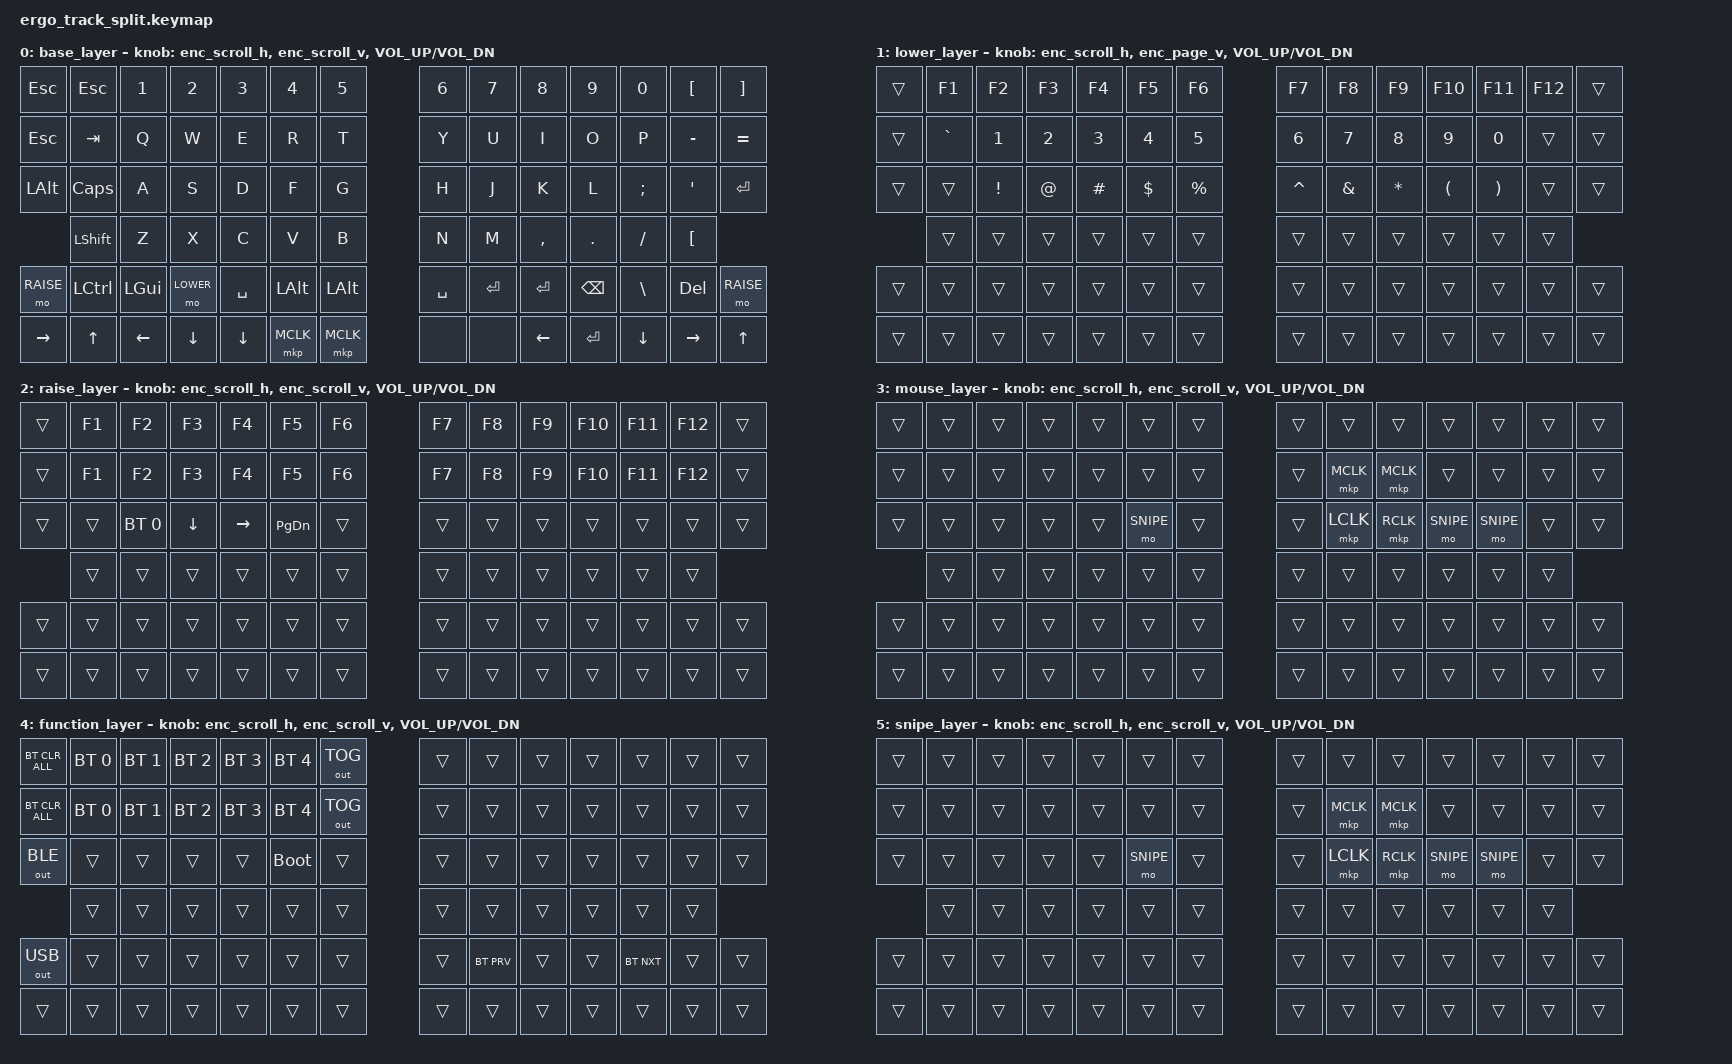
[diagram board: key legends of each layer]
/*
 * SPDX-License-Identifier: MIT
 */

#include <behaviors.dtsi>
#include <dt-bindings/zmk/keys.h>
#include <dt-bindings/zmk/bt.h>
#include <dt-bindings/zmk/outputs.h>
#define ZMK_POINTING_DEFAULT_SCRL_VAL 140
#include <dt-bindings/zmk/mouse.h>
#include <dt-bindings/zmk/pointing.h>

#define BASE  0
#define LOWER 1
#define RAISE 2
#define MOUSE 3
#define FUNC  4
#define SNIPE 5

/ {
    behaviors {
        enc_scroll_v: enc_scroll_v {
            compatible = "zmk,behavior-sensor-rotate";
            label = "ENC_SCROLL_V";
            #sensor-binding-cells = <0>;
            bindings = <&msc SCRL_DOWN>, <&msc SCRL_UP>;
            tap-ms = <20>;
        };

        enc_scroll_h: enc_scroll_h {
            compatible = "zmk,behavior-sensor-rotate";
            label = "ENC_SCROLL_H";
            #sensor-binding-cells = <0>;
            bindings = <&msc SCRL_LEFT>, <&msc SCRL_RIGHT>;
            tap-ms = <20>;
        };

        enc_page_v: enc_page_v {
        compatible = "zmk,behavior-sensor-rotate";
        label = "ENC_PAGE_V";
        #sensor-binding-cells = <0>;
        bindings = <&kp PAGE_DOWN>, <&kp PAGE_UP>;
        tap-ms = <20>;
        };
    };

    conditional_layers {
        compatible = "zmk,conditional-layers";
        func_layer {
            if-layers = <LOWER RAISE>;
            then-layer = <FUNC>;
        };
    };

    keymap {
        compatible = "zmk,keymap";

        base_layer {
            bindings = <
            &kp ESC &kp ESC &kp N1 &kp N2 &kp N3 &kp N4 &kp N5        &kp N6 &kp N7 &kp N8 &kp N9 &kp N0 &kp LBKT &kp RBKT
            &kp ESC &kp TAB &kp Q &kp W &kp E &kp R &kp T              &kp Y &kp U &kp I &kp O &kp P &kp MINUS &kp EQUAL
            &kp LALT &kp CAPS &kp A &kp S &kp D &kp F &kp G            &kp H &kp J &kp K &kp L &kp SEMI &kp APOS &kp RET
                     &kp LSHFT &kp Z &kp X &kp C &kp V &kp B           &kp N &kp M &kp COMMA &kp DOT &kp FSLH &kp LBKT
            &mo RAISE &kp LCTRL &kp LGUI &mo LOWER &kp SPACE &kp LALT &kp LALT    &kp SPACE &kp RET &kp RET &kp BACKSPACE &kp BSLH &kp DEL &mo RAISE
            &kp RIGHT &kp UP &kp LEFT &kp DOWN &kp DOWN &mkp MCLK &mkp MCLK  &none &none &kp LEFT &kp RET &kp DOWN &kp RIGHT &kp UP
            >;
            sensor-bindings = <&enc_scroll_h &enc_scroll_v &inc_dec_kp C_VOL_UP C_VOL_DN>;
        };

        lower_layer {
            bindings = <
            &trans &kp F1 &kp F2 &kp F3 &kp F4 &kp F5 &kp F6      &kp F7 &kp F8 &kp F9 &kp F10 &kp F11 &kp F12 &trans
            &trans &kp GRAVE &kp N1 &kp N2 &kp N3 &kp N4 &kp N5   &kp N6 &kp N7 &kp N8 &kp N9 &kp N0 &trans &trans
            &trans &trans &kp EXCL &kp AT &kp HASH &kp DLLR &kp PRCNT   &kp CARET &kp AMPS &kp STAR &kp LPAR &kp RPAR &trans &trans
                   &trans &trans &trans &trans &trans &trans        &trans &trans &trans &trans &trans &trans
            &trans &trans &trans &trans &trans &trans &trans        &trans &trans &trans &trans &trans &trans &trans
            &trans &trans &trans &trans &trans &trans &trans        &trans &trans &trans &trans &trans &trans &trans
            >;
            sensor-bindings = <&enc_scroll_h &enc_page_v &inc_dec_kp C_VOL_UP C_VOL_DN>;
        };

        raise_layer {
            bindings = <
            &trans &kp F1 &kp F2 &kp F3 &kp F4 &kp F5 &kp F6        &kp F7 &kp F8 &kp F9 &kp F10 &kp F11 &kp F12 &trans
            &trans &kp F1 &kp F2 &kp F3 &kp F4 &kp F5 &kp F6        &kp F7 &kp F8 &kp F9 &kp F10 &kp F11 &kp F12 &trans
            &trans &trans &bt BT_SEL 0 &kp DOWN &kp RIGHT &kp PG_DN &trans  &trans &trans &trans &trans &trans &trans &trans
                   &trans &trans &trans &trans &trans &trans        &trans &trans &trans &trans &trans &trans
            &trans &trans &trans &trans &trans &trans &trans        &trans &trans &trans &trans &trans &trans &trans
            &trans &trans &trans &trans &trans &trans &trans        &trans &trans &trans &trans &trans &trans &trans
            >;
            sensor-bindings = <&enc_scroll_h &enc_scroll_v &inc_dec_kp C_VOL_UP C_VOL_DN>;
        };

        mouse_layer {
            bindings = <
            &trans &trans &trans &trans &trans &trans &trans        &trans &trans &trans &trans &trans &trans &trans
            &trans &trans &trans &trans &trans &trans &trans        &trans &mkp MCLK &mkp MCLK &trans &trans &trans &trans
            &trans &trans &trans &trans &trans &mo SNIPE &trans     &trans &mkp LCLK &mkp RCLK &mo SNIPE &mo SNIPE &trans &trans
                   &trans &trans &trans &trans &trans &trans        &trans &trans &trans &trans &trans &trans
            &trans &trans &trans &trans &trans &trans &trans        &trans &trans &trans &trans &trans &trans &trans
            &trans &trans &trans &trans &trans &trans &trans        &trans &trans &trans &trans &trans &trans &trans
            >;
            sensor-bindings = <&enc_scroll_h &enc_scroll_v &inc_dec_kp C_VOL_UP C_VOL_DN>;
        };

        function_layer {
            bindings = <
            &bt BT_CLR_ALL &bt BT_SEL 0 &bt BT_SEL 1 &bt BT_SEL 2 &bt BT_SEL 3 &bt BT_SEL 4 &out OUT_TOG    &trans &trans &trans &trans &trans &trans &trans
            &bt BT_CLR_ALL &bt BT_SEL 0 &bt BT_SEL 1 &bt BT_SEL 2 &bt BT_SEL 3 &bt BT_SEL 4 &out OUT_TOG    &trans &trans &trans &trans &trans &trans &trans
            &out OUT_BLE &trans &trans &trans &trans &bootloader &trans       &trans &trans &trans &trans &trans &trans &trans
                   &trans &trans &trans &trans &trans &trans             &trans &trans &trans &trans &trans &trans
            &out OUT_USB &trans &trans &trans &trans &trans &trans       &trans &bt BT_PRV &trans &trans &bt BT_NXT &trans &trans
            &trans &trans &trans &trans &trans &trans &trans             &trans &trans &trans &trans &trans &trans &trans
            >;
            sensor-bindings = <&enc_scroll_h &enc_scroll_v &inc_dec_kp C_VOL_UP C_VOL_DN>;
        };

        snipe_layer {
            bindings = <
            &trans &trans &trans &trans &trans &trans &trans        &trans &trans &trans &trans &trans &trans &trans
            &trans &trans &trans &trans &trans &trans &trans        &trans &mkp MCLK &mkp MCLK &trans &trans &trans &trans
            &trans &trans &trans &trans &trans &mo SNIPE &trans     &trans &mkp LCLK &mkp RCLK &mo SNIPE &mo SNIPE &trans &trans
                   &trans &trans &trans &trans &trans &trans        &trans &trans &trans &trans &trans &trans
            &trans &trans &trans &trans &trans &trans &trans        &trans &trans &trans &trans &trans &trans &trans
            &trans &trans &trans &trans &trans &trans &trans        &trans &trans &trans &trans &trans &trans &trans
    >;
    sensor-bindings = <&enc_scroll_h &enc_scroll_v &inc_dec_kp C_VOL_UP C_VOL_DN>;
};
    };
};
